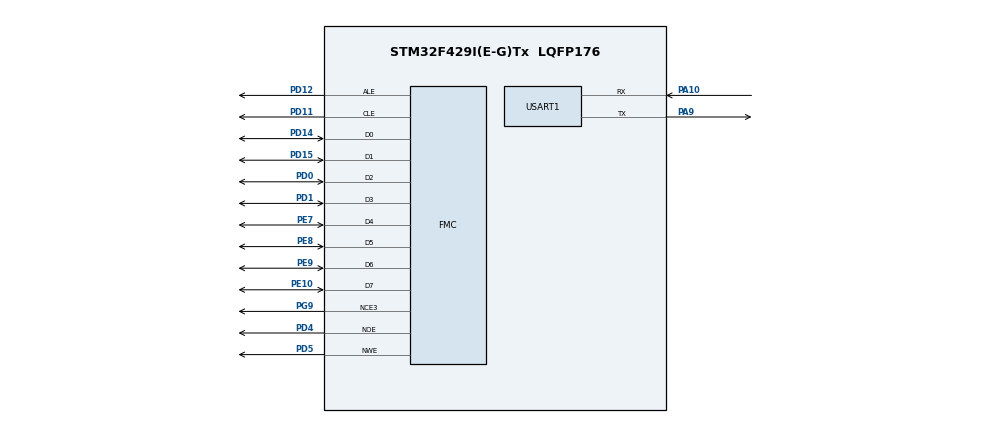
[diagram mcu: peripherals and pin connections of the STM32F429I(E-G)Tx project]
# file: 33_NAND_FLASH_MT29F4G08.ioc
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FMC.AttributeSpaceHiZSetupTime2=3
FMC.AttributeSpaceHoldSetupTime2=2
FMC.AttributeSpaceSetupTime2=1
FMC.AttributeSpaceWaitSetupTime2=3
FMC.CommonSpaceHiZSetupTime2=3
FMC.CommonSpaceHoldSetupTime2=2
FMC.CommonSpaceSetupTime2=1
FMC.CommonSpaceWaitSetupTime2=3
FMC.ECCPageSize2=FMC_NAND_ECC_PAGE_SIZE_2048BYTE
FMC.NandBlockNbr2=4096
FMC.NandBlockSize2=64
FMC.NandPageSize2=2048
FMC.NandPlaneNbr2=2
FMC.NandPlaneSize2=2048
FMC.NandSpareAreaSize2=64
Mcu.Family=STM32F4
Mcu.Name=STM32F429I(E-G)Tx
Mcu.Package=LQFP176
NVIC.PriorityGroup=NVIC_PRIORITYGROUP_4
PA10.Mode=Asynchronous
PA10.Signal=USART1_RX
PA13.Mode=Trace_Asynchronous_SW
PA13.Signal=SYS_JTMS-SWDIO
PA14.Mode=Trace_Asynchronous_SW
PA14.Signal=SYS_JTCK-SWCLK
PA9.Mode=Asynchronous
PA9.Signal=USART1_TX
PB3.Mode=Trace_Asynchronous_SW
PB3.Signal=SYS_JTDO-SWO
PC14/OSC32_IN.Mode=LSE-External-Oscillator
PC14/OSC32_IN.Signal=RCC_OSC32_IN
PC15/OSC32_OUT.Mode=LSE-External-Oscillator
PC15/OSC32_OUT.Signal=RCC_OSC32_OUT
PD0.Signal=FMC_D2_DA2
PD1.Signal=FMC_D3_DA3
PD11.Signal=FMC_A16_CLE
PD12.Signal=FMC_A17_ALE
PD14.Signal=FMC_D0_DA0
PD15.Signal=FMC_D1_DA1
PD4.Signal=FMC_NOE
PD5.Signal=FMC_NWE
PE10.Signal=FMC_D7_DA7
PE7.Signal=FMC_D4_DA4
PE8.Signal=FMC_D5_DA5
PE9.Signal=FMC_D6_DA6
PG9.Mode=NandChipSelect3_2
PG9.Signal=FMC_NCE3
PH0/OSC_IN.Mode=HSE-External-Oscillator
PH0/OSC_IN.Signal=RCC_OSC_IN
PH1/OSC_OUT.Mode=HSE-External-Oscillator
PH1/OSC_OUT.Signal=RCC_OSC_OUT
ProjectManager.HeapSize=0x2000
ProjectManager.StackSize=0x4000
ProjectManager.TargetToolchain=STM32CubeIDE
RCC.48MHZClocksFreq_Value=90000000
RCC.AHBFreq_Value=180000000
RCC.APB1CLKDivider=RCC_HCLK_DIV4
RCC.APB1Freq_Value=45000000
RCC.APB1TimFreq_Value=90000000
RCC.APB2CLKDivider=RCC_HCLK_DIV2
RCC.APB2Freq_Value=90000000
RCC.APB2TimFreq_Value=180000000
RCC.CortexFreq_Value=180000000
RCC.HCLKFreq_Value=180000000
RCC.HSE_VALUE=25000000
RCC.HSI_VALUE=16000000
RCC.PLLM=15
RCC.PLLN=216
RCC.PLLSourceVirtual=RCC_PLLSOURCE_HSE
RCC.SYSCLKFreq_VALUE=180000000
RCC.SYSCLKSource=RCC_SYSCLKSOURCE_PLLCLK
RCC.VCOOutputFreq_Value=360000000
SH.FMC_A16_CLE.0=FMC_CLE,8b-dmux2
SH.FMC_A17_ALE.0=FMC_ALE,8b-dmux2
SH.FMC_D0_DA0.0=FMC_D0,8b-dmux2
SH.FMC_D1_DA1.0=FMC_D1,8b-dmux2
SH.FMC_D2_DA2.0=FMC_D2,8b-dmux2
SH.FMC_D3_DA3.0=FMC_D3,8b-dmux2
SH.FMC_D4_DA4.0=FMC_D4,8b-dmux2
SH.FMC_D5_DA5.0=FMC_D5,8b-dmux2
SH.FMC_D6_DA6.0=FMC_D6,8b-dmux2
SH.FMC_D7_DA7.0=FMC_D7,8b-dmux2
SH.FMC_NOE.0=FMC_NOE,8b-dmux2
SH.FMC_NWE.0=FMC_NWE,8b-dmux2
USART1.VirtualMode=VM_ASYNC
board=custom

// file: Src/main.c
/* USER CODE BEGIN Header */
/**
 ******************************************************************************
 * @file           : main.c
 * @brief          : Main program body
 ******************************************************************************
 * @attention
 *
 * <h2><center>&copy; Copyright (c) 2019 STMicroelectronics.
 * All rights reserved.</center></h2>
 *
 * This software component is licensed by ST under BSD 3-Clause license,
 * the "License"; You may not use this file except in compliance with the
 * License. You may obtain a copy of the License at:
 *                        opensource.org/licenses/BSD-3-Clause
 *
 ******************************************************************************
 */
/* USER CODE END Header */

#include "main.h"
#include "usart.h"
#include "gpio.h"
#include "fmc.h"

/* USER CODE BEGIN Includes */
#include <stdio.h>
/* USER CODE END Includes */

/* USER CODE BEGIN PTD */
#ifdef __GNUC__
#define PUTCHAR_PROTOTYPE int __io_putchar(int ch)
#else
#define PUTCHAR_PROTOTYPE int fputc(int ch, FILE *f)
#endif
PUTCHAR_PROTOTYPE
{
    while ((USART1->SR & 0X40) == 0);
    USART1->DR = (uint8_t) ch;
    return ch;
}
/* USER CODE END PTD */

/* USER CODE BEGIN PD */
#define NAND_PAGE_SIZE 2048
#define BUF_PAGE_NUM 10
#define TOTAL_PAGE_NUM 1080
#define TOTAL_BLOCK_NUM 18
#define PAGE_NUM_IN_BLOCK 60
#define IMG_WIDTH 240
/* USER CODE END PD */

/* USER CODE BEGIN PV */
extern NAND_HandleTypeDef hnand2;
NAND_IDTypeDef id;
NAND_AddressTypeDef temp;
uint8_t buf[NAND_PAGE_SIZE];

uint32_t add_buf[4][512] = { 0 };

uint16_t pos[12][2] = { { 15, 14 }, { 265, 14 }, { 517, 14 }, { 769, 14 }, { 15, 209 }, { 265, 209 }, { 517, 209 }, { 769, 209 }, { 15, 404 }, { 265, 404 }, { 517, 404 }, { 769, 404 } };

uint32_t page_buf_1[40][12] = { 0 };
uint32_t page_buf_2[40][12] = { 0 };

uint32_t page_buf_3[512] = { 0 };

uint32_t page_buf_4[20][512] = { 0 };
/* USER CODE END PV */

void SystemClock_Config (void);

int main (void)
{

    /* MCU Configuration--------------------------------------------------------*/

    /* Reset of all peripherals, Initializes the Flash interface and the Systick. */
    HAL_Init ();

    /* Configure the system clock */
    SystemClock_Config ();

    /* Initialize all configured peripherals */
    MX_GPIO_Init ();
    MX_FMC_Init ();
    MX_USART1_UART_Init ();
    /* USER CODE BEGIN 2 */
    printf ("Start\r\n");

    temp.Plane = 0;
    temp.Block = 0;
    temp.Page = 0;
    uint32_t error = 0;
    int i = 0;
    int j = 0;
    int t = 0;
    uint32_t n = 0;
    uint32_t m = 0;
    uint32_t x1 = 0;
    uint32_t y1 = 0;
    uint32_t temp_time = 0;
    uint32_t temp_time2 = 0;
    uint32_t write_time = 0;
    uint32_t read_time = 0;
    uint32_t erase_time = 0;
    // 1、复位NAND芯片，读取芯片ID
    HAL_NAND_Reset (&hnand2);
    HAL_Delay (500);
    HAL_NAND_Read_ID (&hnand2, &id);
    printf ("1.HAL_id = 0x%X\r\n", *((unsigned int*) &id));

//    printf ("3.HAL_NAND_Erase_Block = %d\r\n", HAL_NAND_Erase_Block (&hnand2, &temp));
//    HAL_Delay (100);
//    //wirte
//    for (i = 0; i < 480; i++)
//    {
//	page_buf_3[i] = i;
//    }
//    HAL_NAND_Write_Page_8b (&hnand2, &temp,page_buf_3, 1);
//    HAL_Delay (100);
//    //read
//    HAL_NAND_Read_Page_8b (&hnand2, &temp,page_buf_4, 1);
//    HAL_Delay (100);
//    //check
//
//    while (1);

//    temp.Block = 1;
//    printf ("4.HAL_NAND_Erase_Block = %d\r\n", HAL_NAND_Erase_Block (&hnand2, &temp));
/////////////////////////////////////////////////////////////////////////
//    int x1 = 0;
//    int y1 = 0;
//    int32_t add_buf = 0;
//    int t = 0;
//    int j = 0;
//    uint32_t page_buf[256] = {0};
//    while (t++ < 43200)
//    {
//	x1 = t % 240;
//	y1 = t / 240;
//	for (j = 0; j < 12; j++)
//	{
//	    add_buf = pos[j][0] + x1 + 1024 * (pos[j][1] + y1);
//
//	}
//
//    }
/////////////////////////////////////////////////////////////////////////
    temp.Plane = 0;
    temp.Block = 0;
    temp.Page = 0;
    erase_time = HAL_GetTick();
    //erase block
    for (uint8_t block_temp = 0; block_temp < TOTAL_BLOCK_NUM; block_temp++)
    {
	temp.Block = block_temp;
	HAL_NAND_Erase_Block (&hnand2, &temp);
    }
    temp_time = HAL_GetTick() ;
    erase_time = temp_time - erase_time;
    //write block
    for (i = 0; i < TOTAL_PAGE_NUM; i++)
    {
	for (j = 0; j < 40; j++)
	{
	    for (t = 0; t < 12; t++)
	    {
		x1 = n % IMG_WIDTH;
		y1 = n / IMG_WIDTH;
		page_buf_1[j][t] = pos[t][0] + x1 + 1024 * (pos[t][1] + y1);
		n++;
	    }
	}
	temp.Block = i / 64;
	temp.Page = i % 64;
	temp.Plane = 0;
	HAL_NAND_Write_Page_8b (&hnand2, &temp, page_buf_1, 1);
    }
    temp_time2 = HAL_GetTick() ;
    write_time = temp_time2 - temp_time;

    //read and check block
    n = 0;

    for (i = 0; i < 54; i++)
    {
//	for (j = 0; j < 40; j++)
//	{
//	    for (t = 0; t < 12; t++)
//	    {
//		x1 = n % IMG_WIDTH;
//		y1 = n / IMG_WIDTH;
//		page_buf_3[j * 12 + t] = pos[t][0] + x1 + 1024 * (pos[t][1] + y1);
//
//		n++;
//	    }
//	}
//	temp.Block = i / 64;
//	temp.Page = i % 64;
//	temp.Plane = 0;
	HAL_NAND_Read_Page_8b (&hnand2, &temp, page_buf_4, 20);
	m = 0;
//	while (1)
//	{
//	    if (page_buf_3[m] != page_buf_4[m])
//	    {
//		error++;
//	    }
//
//	    if (m >= 505)
//	    {
//		if (error != 0)
//		{
//		    printf ("Page: %d \t error= %d \r\n", i, error);
//		    error = 0;
//		}
//		break;
//	    }
//	    m++;
//	}

    }
    temp_time = HAL_GetTick() ;
    read_time = temp_time - temp_time2;
    printf ("Done , error= %d \r\n", error);
    printf ("erase_time : %d  \r\n", erase_time);
    printf ("write_time : %d  \r\n", write_time);
    printf ("read_time : %d  \r\n", read_time);

    while (1);
//    for (int t = 0; t < 512 - 26; t++)
//    {
//	add_buf[0][t] = t;
//    }
//    HAL_NAND_Write_Page_8b (&hnand2, &temp, add_buf[0], 1);
//
//    uint32_t time = HAL_GetTick ();
//    HAL_NAND_Read_Page_8b (&hnand2, &temp, add_buf[1], 1);
//    printf ("%d\r\n", HAL_GetTick () - time);
//
//    int x1 = 0;
//    int y1 = 0;
//    int n = 0;
//
//    while (t++ < 43200)
//    {
//
//	aMemory2[] = img_buf[t];
//	aMemory2[pos[1][0] + x1 + 1024 * (pos[1][1] + y1)] = img_buf[t];
//	aMemory2[pos[2][0] + x1 + 1024 * (pos[2][1] + y1)] = img_buf[t];
//	aMemory2[pos[3][0] + x1 + 1024 * (pos[3][1] + y1)] = img_buf[t];
//	aMemory2[pos[4][0] + x1 + 1024 * (pos[4][1] + y1)] = img_buf[t];
//	aMemory2[pos[5][0] + x1 + 1024 * (pos[5][1] + y1)] = img_buf[t];
//	aMemory2[pos[6][0] + x1 + 1024 * (pos[6][1] + y1)] = img_buf[t];
//	aMemory2[pos[7][0] + x1 + 1024 * (pos[7][1] + y1)] = img_buf[t];
//	aMemory2[pos[8][0] + x1 + 1024 * (pos[8][1] + y1)] = img_buf[t];
//	aMemory2[pos[9][0] + x1 + 1024 * (pos[9][1] + y1)] = img_buf[t];
//	aMemory2[pos[10][0] + x1 + 1024 * (pos[10][1] + y1)] = img_buf[t];
//	aMemory2[pos[11][0] + x1 + 1024 * (pos[11][1] + y1)] = img_buf[t];
//    }
//
//    while (1);
//    printf ("%d\r\n", HAL_GetTick () - time);
//
//    while (1);
//    // 2、擦除第0页所在的�???0块的数据，并打印HAL_NAND_Erase_Block函数执行结果
//    printf ("3.HAL_NAND_Erase_Block = %d\r\n", HAL_NAND_Erase_Block (&hnand2, &temp));
//
//    // 3、读取在芯片�???0页的数据，并打印HAL_NAND_Read_Page_8b函数执行结果
//    memset (buf, 0, NAND_PAGE_SIZE);
//    printf ("2.HAL_NAND_Read_Page_8b = %d\r\n", HAL_NAND_Read_Page_8b (&hnand2, &temp, buf, 1));
//    for (i = 0; i < NAND_PAGE_SIZE; i++)
//    {
//	if ((i % 5) == 0)
//	    printf ("\r\n");
//	printf ("buf[%04d] = 0x%02X ", i, buf[i]);
//    }
//    printf ("\r\n");
//
//    // 4、初始化数据，把新的数据写入芯片�???0页，并打印HAL_NAND_Write_Page_8b函数执行结果
//    for (i = 0; i < NAND_PAGE_SIZE; i++)
//    {
//	buf[i] = i & 0x00FF;
//    }
//    printf ("4.HAL_NAND_Write_Page_8b = %d\r\n", HAL_NAND_Write_Page_8b (&hnand2, &temp, buf, 1));
//
//    // 5、重新读取芯片第0页数据，并打印HAL_NAND_Read_Page_8b函数执行结果
//    memset (buf, 0, NAND_PAGE_SIZE);
//    printf ("5.HAL_NAND_Read_Page_8b = %d\r\n", HAL_NAND_Read_Page_8b (&hnand2, &temp, buf, 1));
//    for (i = 0; i < NAND_PAGE_SIZE; i++)
//    {
//	if ((i % 5) == 0)
//	    printf ("\r\n");
//	printf ("buf[%04d] = 0x%02X ", i, buf[i]);
//    }
    /* USER CODE END 2 */

    /* Infinite loop */
    while (1)
    {

    }
}

void SystemClock_Config (void)
{
    RCC_OscInitTypeDef RCC_OscInitStruct = { 0 };
    RCC_ClkInitTypeDef RCC_ClkInitStruct = { 0 };

    /** Configure the main internal regulator output voltage
     */
    __HAL_RCC_PWR_CLK_ENABLE();
    __HAL_PWR_VOLTAGESCALING_CONFIG(PWR_REGULATOR_VOLTAGE_SCALE1);
    /** Initializes the CPU, AHB and APB busses clocks
     */
    RCC_OscInitStruct.OscillatorType = RCC_OSCILLATORTYPE_HSE;
    RCC_OscInitStruct.HSEState = RCC_HSE_ON;
    RCC_OscInitStruct.PLL.PLLState = RCC_PLL_ON;
    RCC_OscInitStruct.PLL.PLLSource = RCC_PLLSOURCE_HSE;
    RCC_OscInitStruct.PLL.PLLM = 15;
    RCC_OscInitStruct.PLL.PLLN = 216;
    RCC_OscInitStruct.PLL.PLLP = RCC_PLLP_DIV2;
    RCC_OscInitStruct.PLL.PLLQ = 4;
    if (HAL_RCC_OscConfig (&RCC_OscInitStruct) != HAL_OK)
    {
	Error_Handler ();
    }
    /** Activate the Over-Drive mode
     */
    if (HAL_PWREx_EnableOverDrive () != HAL_OK)
    {
	Error_Handler ();
    }
    /** Initializes the CPU, AHB and APB busses clocks
     */
    RCC_ClkInitStruct.ClockType = RCC_CLOCKTYPE_HCLK | RCC_CLOCKTYPE_SYSCLK | RCC_CLOCKTYPE_PCLK1 | RCC_CLOCKTYPE_PCLK2;
    RCC_ClkInitStruct.SYSCLKSource = RCC_SYSCLKSOURCE_PLLCLK;
    RCC_ClkInitStruct.AHBCLKDivider = RCC_SYSCLK_DIV1;
    RCC_ClkInitStruct.APB1CLKDivider = RCC_HCLK_DIV4;
    RCC_ClkInitStruct.APB2CLKDivider = RCC_HCLK_DIV2;

    if (HAL_RCC_ClockConfig (&RCC_ClkInitStruct, FLASH_LATENCY_5) != HAL_OK)
    {
	Error_Handler ();
    }
}

/* USER CODE BEGIN 4 */

//
//int _write(int file, char *ptr, int len) {
//	int DataIdx;
//	for (DataIdx = 0; DataIdx < len; DataIdx++) {
//		ITM_SendChar(*ptr++);
//	}
//	return len;
//}
/* USER CODE END 4 */

void Error_Handler (void)
{
}

/************************ (C) COPYRIGHT STMicroelectronics *****END OF FILE****/
